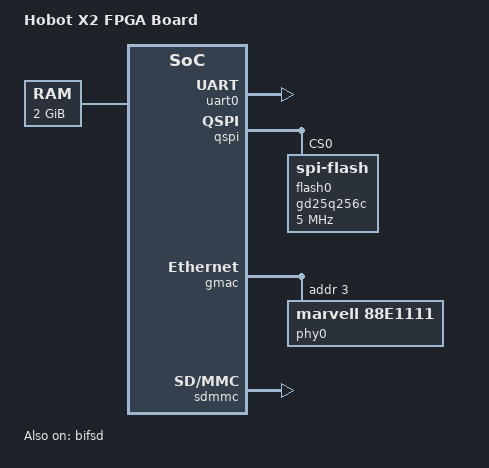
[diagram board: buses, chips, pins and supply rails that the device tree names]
/*
 * dts file for Hobot X2 FPGA
 *
 * (C) Copyright 2017 - 2018, Hobot, Inc.
 *
 * yu.xing <yu.xing@hobot.cc>
 *
 * SPDX-License-Identifier:	GPL-2.0+
 */

/dts-v1/;

#include "hobot.dtsi"

/ {
	model = "Hobot X2 FPGA Board";
	compatible = "hobot,x2-fpga";

	aliases {
		serial0 = &uart0;
		spi0	= &qspi;
		gmac0 = &gmac;
		bif	= &bifsd;
		mmc0    = &sdmmc;
	};

	chosen {
		bootargs = "";
		stdout-path = "serial0:115200n8";
	};

	memory@0 {
		device_type = "memory";
		reg = <0x0 0x0 0x0 0x80000000>;
	};
};

&uart0 {
	status = "okay";
};

&qspi {
	status = "okay";
	xfer-mode = <0>;
	spi-max-frequency = <20000000>; /* For FPGA max clk is 20Mhz */
	#address-cells = <1>;
	#size-cells = <0>;

	flash0: gd25q256c@0 {
		u-boot,dm-pre-reloc;
		compatible = "spi-flash";
		reg = <0x0>;
		spi-tx-bus-width = <4>;
		spi-rx-bus-width = <4>;
		spi-max-frequency = <5000000>;
	};

/*
	spi-nand@0 {
		#address-cells = <1>;
		#size-cells = <1>;
		compatible = "spi-nand";
		reg = <0x0>;
		spi-tx-bus-width = <4>;
		spi-rx-bus-width = <4>;
		spi-max-frequency = <5000000>;
	};
*/

};

&gmac {
	status = "okay";
	#address-cells = <0x1>;
        #size-cells = <0x0>;
	phy0: ethernet-phy@3 {
		compatible = "marvell,88E1111","ethernet-phy-ieee802.3-c22";
		reg = <3>;
	};
};
&bifsd {
	status = "okay";
	};
&sdmmc {
	status = "okay";
	};
